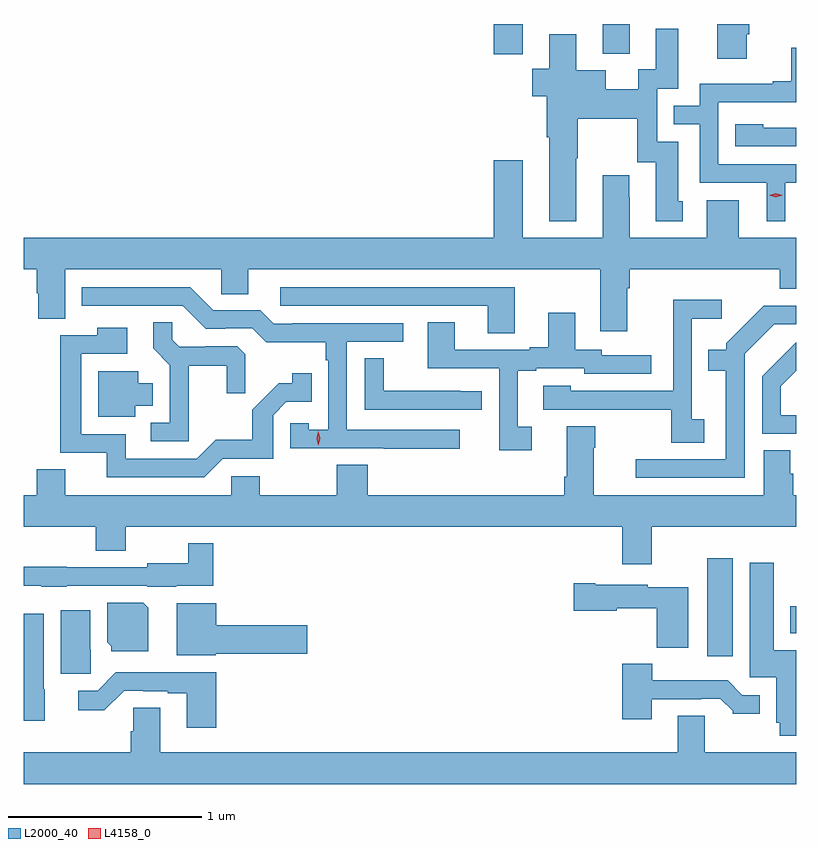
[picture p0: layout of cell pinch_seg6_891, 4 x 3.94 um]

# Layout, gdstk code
import gdstk
lib = gdstk.Library(unit=1e-6, precision=1e-09)
def R(c, l, rs):  # rectangles x0, y0, x1, y1
    for r in rs: c.add(gdstk.rectangle(r[:2], r[2:], *l))
def P(c, l, *ps):  # polygons
    for p in ps: c.add(gdstk.Polygon(p, *l))
L2000_40 = (2000, 40)
L4158_0 = (4158, 0)

pinch_seg6_891 = lib.new_cell('pinch_seg6_891')
R(pinch_seg6_891, L2000_40, [(366.938,917.361,367.069,917.869), (367.367,917.48,367.398,917.62), (365.831,920.478,365.983,920.635), (366.395,920.48,366.535,920.635)])
P(pinch_seg6_891, L2000_40, [(367.141,920.583),(367.154,920.583),(367.154,920.635),(366.989,920.635),(366.989,920.454),(367.141,920.454)],
  [(366.259,919.939),(366.267,919.939),(366.267,920.144),(366.575,920.144),(366.575,919.92),(366.671,919.92),(366.671,919.614),(366.811,919.614),(366.811,919.716),(366.787,919.716),(366.787,920.025),(366.678,920.025),(366.678,920.301),(366.787,920.301),(366.787,920.611),(366.671,920.611),(366.671,920.402),(366.581,920.402),(366.581,920.296),(366.412,920.296),(366.412,920.395),(366.259,920.395),(366.259,920.581),(366.119,920.581),(366.119,920.403),(366.032,920.403),(366.032,920.261),(366.107,920.261),(366.107,920.048),(366.119,920.048),(366.119,919.613),(366.259,919.613)],
  [(367.342,919.812),(367.398,919.812),(367.398,919.908),(366.993,919.908),(366.993,920.229),(367.398,920.229),(367.398,920.513),(367.372,920.513),(367.372,920.338),(367.277,920.338),(367.277,920.325),(366.897,920.325),(366.897,920.211),(366.763,920.211),(366.763,920.115),(366.897,920.115),(366.897,919.812),(367.244,919.812),(367.244,919.613),(367.342,919.613)],
  [(367.398,920.098),(367.227,920.098),(367.227,920.116),(367.083,920.116),(367.083,920.001),(367.398,920.001)],
  [(366.523,919.268),(366.536,919.268),(366.536,919.364),(367.313,919.364),(367.313,919.265),(367.398,919.265),(367.398,919.528),(367.099,919.528),(367.099,919.723),(366.935,919.723),(366.935,919.528),(366.535,919.528),(366.535,919.739),(366.532,919.739),(366.532,919.852),(366.395,919.852),(366.395,919.528),(365.983,919.528),(365.983,919.93),(365.831,919.93),(365.831,919.528),(363.398,919.528),(363.398,919.364),(363.466,919.364),(363.466,919.242),(363.473,919.242),(363.473,919.108),(363.613,919.108),(363.613,919.364),(364.422,919.364),(364.422,919.237),(364.561,919.237),(364.561,919.364),(366.383,919.364),(366.383,919.044),(366.523,919.044)],
  [(365.656,918.534),(365.07,918.534),(365.07,918.99),(365.362,918.99),(365.362,919.086),(364.792,919.086),(364.792,919.083),(364.692,919.083),(364.623,919.152),(364.38,919.152),(364.26,919.272),(363.698,919.272),(363.698,919.176),(364.221,919.176),(364.341,919.056),(364.442,919.056),(364.442,919.059),(364.581,919.059),(364.654,918.986),(364.962,918.986),(364.962,918.893),(364.974,918.893),(364.974,918.535),(364.875,918.535),(364.875,918.567),(364.779,918.567),(364.779,918.438),(365.263,918.438),(365.263,918.436),(365.656,918.436)],
  [(365.941,919.272),(364.725,919.272),(364.725,919.176),(365.801,919.176),(365.801,919.033),(365.941,919.033)],
  [(366.922,918.588),(366.858,918.588),(366.858,919.109),(367.012,919.109),(367.012,919.207),(366.76,919.207),(366.76,918.968),(366.762,918.968),(366.762,918.735),(366.231,918.735),(366.231,918.763),(366.087,918.763),(366.087,918.639),(366.445,918.639),(366.445,918.637),(366.75,918.637),(366.75,918.466),(366.922,918.466)],
  [(367.131,918.927),(367.284,919.08),(367.398,919.08),(367.398,919.176),(367.23,919.176),(367.035,918.981),(367.035,918.949),(366.943,918.949),(366.943,918.84),(367.034,918.84),(367.034,918.381),(366.567,918.381),(366.567,918.285),(367.131,918.285)],
  [(366.028,918.549),(365.956,918.549),(365.956,918.84),(366.052,918.84),(366.052,918.852),(366.3,918.852),(366.3,918.825),(366.646,918.825),(366.646,918.921),(366.39,918.921),(366.39,918.948),(366.253,918.948),(366.253,919.141),(366.113,919.141),(366.113,918.961),(366.017,918.961),(366.017,918.948),(365.629,918.948),(365.629,919.091),(365.489,919.091),(365.489,918.852),(365.859,918.852),(365.859,918.429),(366.028,918.429)],
  [(364.253,918.866),(364.45,918.866),(364.45,918.723),(364.544,918.723),(364.544,918.925),(364.503,918.966),(364.338,918.966),(364.338,918.963),(364.204,918.963),(364.167,919),(364.167,919.091),(364.069,919.091),(364.069,918.955),(364.155,918.869),(364.155,918.57),(364.056,918.57),(364.056,918.474),(364.253,918.474)],
  [(364.428,918.384),(364.689,918.384),(364.689,918.609),(364.758,918.678),(364.889,918.678),(364.889,918.826),(364.788,918.826),(364.788,918.776),(364.718,918.776),(364.581,918.638),(364.581,918.483),(364.392,918.483),(364.293,918.384),(363.925,918.384),(363.925,918.51),(363.696,918.51),(363.696,918.927),(363.934,918.927),(363.934,919.063),(363.778,919.063),(363.778,919.023),(363.588,919.023),(363.588,918.414),(363.827,918.414),(363.827,918.288),(364.332,918.288)],
  [(367.398,918.61),(367.318,918.61),(367.318,918.76),(367.398,918.84),(367.398,918.988),(367.221,918.811),(367.221,918.513),(367.398,918.513)],
  [(365.77,918.734),(365.657,918.734),(365.657,918.735),(365.262,918.735),(365.262,918.905),(365.163,918.905),(365.163,918.639),(365.77,918.639)],
  [(363.976,918.659),(364.066,918.659),(364.066,918.775),(363.991,918.775),(363.991,918.838),(363.785,918.838),(363.785,918.602),(363.976,918.602)],
  [(366.649,918.032),(367.398,918.032),(367.398,918.196),(367.382,918.196),(367.382,918.306),(367.367,918.306),(367.367,918.428),(367.229,918.428),(367.229,918.196),(366.349,918.196),(366.349,918.44),(366.357,918.44),(366.357,918.553),(366.209,918.553),(366.209,918.292),(366.197,918.292),(366.197,918.196),(365.18,918.196),(365.18,918.353),(365.02,918.353),(365.02,918.196),(364.62,918.196),(364.62,918.294),(364.473,918.294),(364.473,918.196),(363.613,918.196),(363.613,918.329),(363.466,918.329),(363.466,918.196),(363.398,918.196),(363.398,918.032),(363.772,918.032),(363.772,917.908),(363.927,917.908),(363.927,918.032),(366.497,918.032),(366.497,917.838),(366.649,917.838)],
  [(363.621,917.727),(364.038,917.727),(364.038,917.72),(364.188,917.72),(364.188,917.726),(364.379,917.726),(364.379,917.947),(364.251,917.947),(364.251,917.842),(364.038,917.842),(364.038,917.823),(363.621,917.823),(363.621,917.825),(363.398,917.825),(363.398,917.726),(363.489,917.726),(363.489,917.72),(363.621,917.72)],
  [(367.398,917.392),(367.282,917.392),(367.282,917.845),(367.157,917.845),(367.157,917.253),(367.295,917.253),(367.295,917.016),(367.312,917.016),(367.312,916.95),(367.398,916.95)],
  [(366.838,917.719),(366.63,917.719),(366.63,917.731),(366.358,917.731),(366.358,917.739),(366.246,917.739),(366.246,917.597),(366.468,917.597),(366.468,917.609),(366.676,917.609),(366.676,917.405),(366.838,917.405)],
  [(364.042,917.612),(364.016,917.638),(363.83,917.638),(363.83,917.434),(363.852,917.412),(363.852,917.387),(364.042,917.387)],
  [(364.392,917.375),(364.867,917.375),(364.867,917.522),(364.396,917.522),(364.396,917.636),(364.19,917.636),(364.19,917.366),(364.392,917.366)],
  [(363.746,917.394),(363.742,917.394),(363.742,917.599),(363.59,917.599),(363.59,917.271),(363.746,917.271)],
  [(363.508,917.19),(363.502,917.19),(363.502,917.581),(363.398,917.581),(363.398,917.028),(363.508,917.028)],
  [(366.649,917.139),(366.905,917.139),(366.905,917.142),(367.004,917.142),(367.068,917.078),(367.068,917.063),(367.21,917.063),(367.21,917.16),(367.119,917.16),(367.043,917.236),(366.652,917.236),(366.652,917.323),(366.497,917.323),(366.497,917.034),(366.649,917.034)],
  [(364.394,917.278),(363.874,917.278),(363.78,917.184),(363.681,917.184),(363.681,917.082),(363.816,917.082),(363.918,917.184),(364.018,917.184),(364.018,917.181),(364.145,917.181),(364.145,917.169),(364.241,917.169),(364.241,916.992),(364.394,916.992)],
  [(367.398,916.864),(366.925,916.864),(366.925,917.054),(366.785,917.054),(366.785,916.864),(364.105,916.864),(364.105,917.096),(363.966,917.096),(363.966,916.974),(363.953,916.974),(363.953,916.864),(363.398,916.864),(363.398,916.7),(367.398,916.7)])
P(pinch_seg6_891, L4158_0, [(367.293,919.738),(367.257,919.748),(367.257,919.748),(367.257,919.748),(367.293,919.758),(367.329,919.748),(367.329,919.748),(367.329,919.748)],
  [(364.924,918.453),(364.924,918.453),(364.914,918.489),(364.924,918.525),(364.924,918.526),(364.924,918.525),(364.934,918.489),(364.924,918.453)])

lib.write_gds('pinch_seg6_891.gds')
